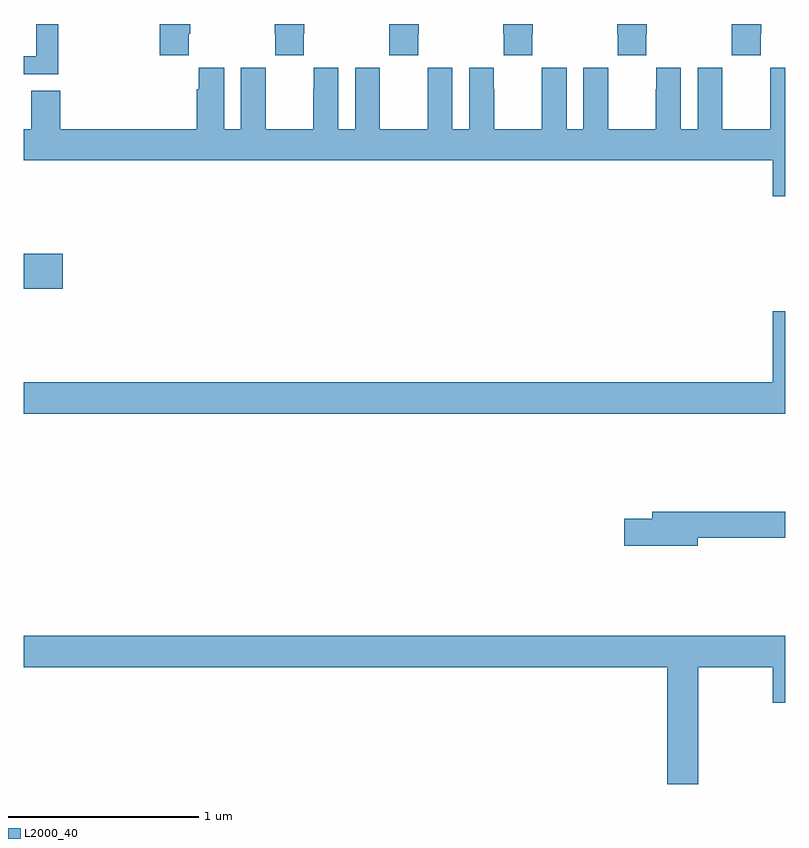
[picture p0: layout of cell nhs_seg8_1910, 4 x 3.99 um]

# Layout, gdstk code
import gdstk
lib = gdstk.Library(unit=1e-6, precision=1e-09)
def R(c, l, rs):  # rectangles x0, y0, x1, y1
    for r in rs: c.add(gdstk.rectangle(r[:2], r[2:], *l))
def P(c, l, *ps):  # polygons
    for p in ps: c.add(gdstk.Polygon(p, *l))
L2000_40 = (2000, 40)

nhs_seg8_1910 = lib.new_cell('nhs_seg8_1910')
R(nhs_seg8_1910, L2000_40, [(233,1098.509,233.203,1098.692)])
P(nhs_seg8_1910, L2000_40, [(233.18,1099.9),(233.064,1099.9),(233.064,1099.731),(233,1099.731),(233,1099.635),(233.18,1099.635)],
  [(236.871,1099.849),(236.874,1099.849),(236.874,1099.9),(236.719,1099.9),(236.719,1099.849),(236.721,1099.849),(236.721,1099.737),(236.871,1099.737)],
  [(236.271,1099.849),(236.274,1099.849),(236.274,1099.9),(236.119,1099.9),(236.119,1099.849),(236.121,1099.849),(236.121,1099.737),(236.271,1099.737)],
  [(235.671,1099.849),(235.674,1099.849),(235.674,1099.9),(235.519,1099.9),(235.519,1099.849),(235.521,1099.849),(235.521,1099.737),(235.671,1099.737)],
  [(235.071,1099.849),(235.074,1099.849),(235.074,1099.9),(234.919,1099.9),(234.919,1099.849),(234.921,1099.849),(234.921,1099.737),(235.071,1099.737)],
  [(234.471,1099.849),(234.474,1099.849),(234.474,1099.9),(234.319,1099.9),(234.319,1099.849),(234.321,1099.849),(234.321,1099.737),(234.471,1099.737)],
  [(233.867,1099.849),(233.874,1099.849),(233.874,1099.9),(233.714,1099.9),(233.714,1099.737),(233.867,1099.737)],
  [(237,1099.669),(236.922,1099.669),(236.922,1099.556),(236.921,1099.556),(236.921,1099.348),(236.671,1099.348),(236.671,1099.556),(236.67,1099.556),(236.67,1099.669),(236.54,1099.669),(236.54,1099.348),(236.452,1099.348),(236.452,1099.669),(236.322,1099.669),(236.322,1099.556),(236.321,1099.556),(236.321,1099.348),(236.071,1099.348),(236.071,1099.556),(236.07,1099.556),(236.07,1099.669),(235.94,1099.669),(235.94,1099.348),(235.852,1099.348),(235.852,1099.669),(235.722,1099.669),(235.722,1099.556),(235.721,1099.556),(235.721,1099.348),(235.471,1099.348),(235.471,1099.556),(235.47,1099.556),(235.47,1099.669),(235.34,1099.669),(235.34,1099.348),(235.252,1099.348),(235.252,1099.669),(235.122,1099.669),(235.122,1099.556),(235.121,1099.556),(235.121,1099.348),(234.871,1099.348),(234.871,1099.556),(234.87,1099.556),(234.87,1099.669),(234.74,1099.669),(234.74,1099.348),(234.652,1099.348),(234.652,1099.669),(234.522,1099.669),(234.522,1099.556),(234.521,1099.556),(234.521,1099.348),(234.271,1099.348),(234.271,1099.556),(234.27,1099.556),(234.27,1099.669),(234.14,1099.669),(234.14,1099.348),(234.052,1099.348),(234.052,1099.669),(233.918,1099.669),(233.918,1099.556),(233.909,1099.556),(233.909,1099.348),(233.192,1099.348),(233.192,1099.55),(233.039,1099.55),(233.039,1099.348),(233,1099.348),(233,1099.184),(236.936,1099.184),(236.936,1098.996),(237,1098.996)],
  [(237,1098.391),(236.936,1098.391),(236.936,1098.016),(233,1098.016),(233,1097.852),(237,1097.852)],
  [(236.542,1097.2),(237,1097.2),(237,1097.336),(236.303,1097.336),(236.303,1097.3),(236.154,1097.3),(236.154,1097.158),(236.542,1097.158)],
  [(236.545,1096.52),(236.936,1096.52),(236.936,1096.332),(237,1096.332),(237,1096.684),(233,1096.684),(233,1096.52),(236.381,1096.52),(236.381,1095.906),(236.545,1095.906)])

lib.write_gds('nhs_seg8_1910.gds')
